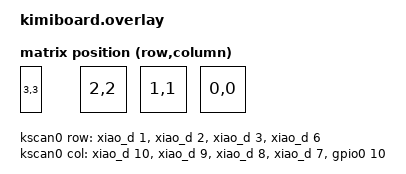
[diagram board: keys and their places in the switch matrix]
#include <dt-bindings/zmk/matrix_transform.h>
#include <dt-bindings/zmk/bt.h>
#include <physical_layouts.dtsi>
#include <zephyr/dt-bindings/input/input-event-codes.h>

/* 回転を behavior で実装するため追加 */
#include <dt-bindings/zmk/behavior_tb_rotate.dtsi>

/ {
    chosen {
        zmk,physical-layout = &physical_layout0;
    };
    aliases {
        led-red = &led0;
    	led-green = &led1;
    	led-blue = &led2;
    };
  	macros {
        bt_sel0: bt_sel0 {
            compatible = "zmk,behavior-macro";
            #binding-cells = <0>;
            bindings = <&bt BT_SEL 0>;
        };

        bt_sel1: bt_sel1 {
            compatible = "zmk,behavior-macro";
            #binding-cells = <0>;
            bindings = <&bt BT_SEL 1>;
        };

        bt_sel2: bt_sel2 {
            compatible = "zmk,behavior-macro";
            #binding-cells = <0>;
            bindings = <&bt BT_SEL 2>;
        };

		bt_clr: bt_clr {
    		compatible = "zmk,behavior-macro";
    		#binding-cells = <0>;
    		bindings = <&bt BT_CLR>;
		};
    };
    behaviors {
		//コンボタップ(長押しと単押しで切り替える)
        lt_mkp: lt_mkp {
            compatible = "zmk,behavior-hold-tap";
            #binding-cells = <2>;
            tapping-term-ms = <200>;
            flavor = "hold-preferred";
            bindings = <&mo>, <&mkp>;
        };
		//BT切り替え
		bt0: bt0 {
            compatible = "zmk,behavior-hold-tap";
            label = "BT0";
		    #binding-cells = <2>;

            flavor = "tap-preferred";
            tapping-term-ms = <2000>;
            quick-tap-ms = <0>;

            bindings = <&bt_sel0>, <&bt_clr>;
            hold-trigger-key-positions = <>;
        };

        bt1: bt1 {
            compatible = "zmk,behavior-hold-tap";
            label = "BT1";
		    #binding-cells = <2>;

            flavor = "tap-preferred";
            tapping-term-ms = <2000>;
            quick-tap-ms = <0>;

            bindings = <&bt_sel1>, <&bt_clr>;
            hold-trigger-key-positions = <>;
        };

        bt2: bt2 {
            compatible = "zmk,behavior-hold-tap";
            label = "BT2";
		    #binding-cells = <2>;

            flavor = "tap-preferred";
            tapping-term-ms = <2000>;
            quick-tap-ms = <0>;

            bindings = <&bt_sel2>, <&bt_clr>;
            hold-trigger-key-positions = <>;
        };
    };
    physical_layout0: physical_layout_0 {
        compatible = "zmk,physical-layout";
        display-name = "Default Layout";
        kscan = <&kscan0>;
        transform = <&default_transform>;

        keys =
            //                     w    h    x     y   rot rx  ry
             <&key_physical_attrs  50   100    0   0   0   0   0>   // SW1(リセット用ボタン)
            , <&key_physical_attrs 100  100  120   0   0   0   0>   // SW2(左ボタン)
            , <&key_physical_attrs 100  100  240   0   0   0   0>   // SW3(中央ボタン)
            , <&key_physical_attrs 100  100  360   0   0   0   0>   // SW4(右ボタン)
            ;
    };

    default_transform: keymap_transform0 {
        compatible = "zmk,matrix-transform";
        rows = <4>;
        columns = <5>;
        map = <
            RC(3,3) RC(2,2) RC(1,1) RC(0,0)    // SW4〜SW1(4はリセット用スイッチ)
        >;
    };

    kscan0: kscan0 {
        compatible = "zmk,kscan-gpio-matrix";
        diode-direction = "col2row";
        col-gpios
            = <&xiao_d 10 GPIO_ACTIVE_HIGH>
            , <&xiao_d 9 GPIO_ACTIVE_HIGH>
            , <&xiao_d 8 GPIO_ACTIVE_HIGH>
            , <&xiao_d 7 GPIO_ACTIVE_HIGH>
            , <&gpio0 10 GPIO_ACTIVE_HIGH>
        ;
        row-gpios
            = <&xiao_d 1 (GPIO_ACTIVE_HIGH | GPIO_PULL_DOWN)>
            , <&xiao_d 2 (GPIO_ACTIVE_HIGH | GPIO_PULL_DOWN)>
            , <&xiao_d 3 (GPIO_ACTIVE_HIGH | GPIO_PULL_DOWN)>
            , <&xiao_d 6 (GPIO_ACTIVE_HIGH | GPIO_PULL_DOWN)>
        ;
    };
};

/ {
	trackball_listener: trackball_listener {
        status = "okay";
        compatible = "zmk,input-listener";
        device = <&trackball>;
    };
};

&pinctrl {
    spi0_default: spi0_default {
        group1 {
            psels = <NRF_PSEL(SPIM_SCK, 0, 5)>,
                    <NRF_PSEL(SPIM_MOSI, 0, 4)>,
                    <NRF_PSEL(SPIM_MISO, 0, 4)>;
        };
    };

    spi0_sleep: spi0_sleep {
        group1 {
            psels = <NRF_PSEL(SPIM_SCK, 0, 5)>,
                    <NRF_PSEL(SPIM_MOSI, 0, 4)>,
                    <NRF_PSEL(SPIM_MISO, 0, 4)>;
            low-power-enable;
        };
    };
};

&xiao_serial { status = "disabled"; };

&spi0 {
    status = "okay";
    compatible = "nordic,nrf-spim";
    pinctrl-0 = <&spi0_default>;
    pinctrl-1 = <&spi0_sleep>;
    pinctrl-names = "default", "sleep";
    cs-gpios = <&gpio0 9 GPIO_ACTIVE_LOW>;

	trackball: trackball@0 {
	    status = "okay";
	    compatible = "pixart,pmw3610";
	    reg = <0>;
	    spi-max-frequency = <2000000>;
	    motion-gpios = <&gpio0 2 (GPIO_ACTIVE_LOW | GPIO_PULL_UP)>;
	    zephyr,axis-x = <INPUT_REL_X>;
	    zephyr,axis-y = <INPUT_REL_Y>;
	    res-cpi = <400>;
	    invert-x;
	};
};
